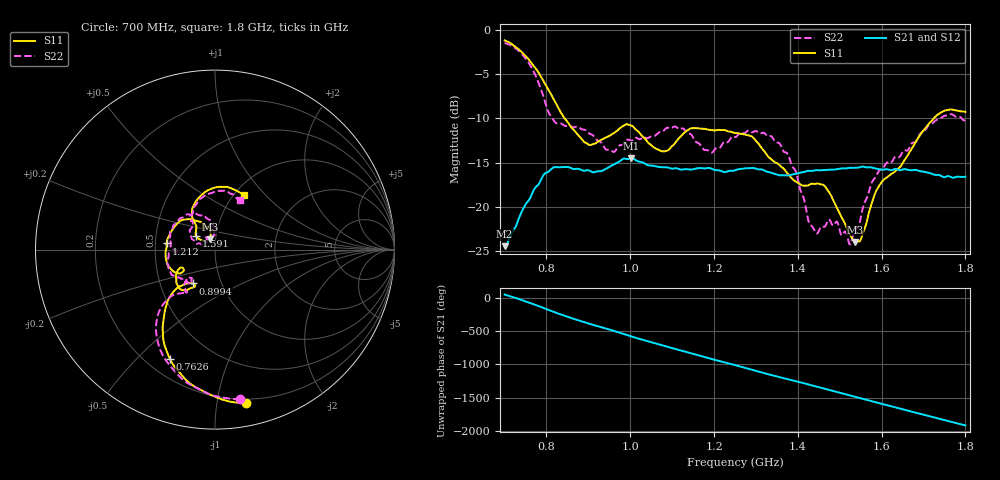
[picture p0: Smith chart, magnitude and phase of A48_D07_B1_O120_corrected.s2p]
! Created with skrf 1.9.0 (http://scikit-rf.org).
# Hz S RI R 50.0
!freq ReS11 ImS11 ReS21 ImS21 ReS12 ImS12 ReS22 ImS22
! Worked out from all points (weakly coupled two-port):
!   1601 points, 700 MHz to 1.8 GHz, reference 50 ohm
!   highest |S21| = -14.50 dB at 1.002 GHz (marker M1); lowest = -24.5 dB at 700 MHz (marker M2)
!   lowest |S11| = -24.0 dB at 1.537 GHz (marker M3), VSWR 1.14, Z = 46.9 + j5.33 ohm
!   |S11| at or under -10 dB: 843.5 MHz to 1.724 GHz (880.9 MHz wide, 68.6 % of centre)
!   |S22| runs from -24.3 to -1.5 dB; largest |S21 - S12| = 0.0035
!   S11 on the Smith chart (normalised r, x): 700 MHz: 0.17, -1.21; 762.6 MHz: 0.29, -0.63; 899.4 MHz: 0.73, -0.29; 1.212 GHz: 0.57, +0.04; 1.591 GHz: 0.80, +0.12; 1.8 GHz: 1.11, +0.77
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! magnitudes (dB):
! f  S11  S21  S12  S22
! 700 MHz  -1.2  -24.5  -24.2  -1.5
! 762.6 MHz  -3.6  -18.9  -18.8  -4.1
! 817.6 MHz  -7.8  -15.5  -15.7  -10.3
! 883.6 MHz  -12.3  -15.8  -15.7  -11.2
! 899.4 MHz  -12.9  -15.9  -15.9  -11.6
! 958.5 MHz  -11.7  -15.3  -15.3  -13.8
! 1.002 GHz  -10.8  -14.5  -14.6  -12.5
! 1.067 GHz  -13.6  -15.5  -15.4  -11.6
! 1.144 GHz  -11.1  -15.8  -15.8  -11.8
! 1.212 GHz  -11.3  -15.9  -15.9  -13.4
! 1.25 GHz  -11.6  -15.9  -15.8  -12.1
! 1.357 GHz  -15.3  -16.4  -16.4  -12.8
! 1.394 GHz  -17.1  -16.3  -16.3  -15.9
! 1.434 GHz  -17.4  -15.9  -15.9  -22.2
! 1.468 GHz  -17.9  -15.9  -15.8  -22.0
! 1.524 GHz  -23.2  -15.6  -15.6  -24.3
! 1.537 GHz  -24.0  -15.6  -15.6  -22.6
! 1.552 GHz  -23.4  -15.5  -15.5  -20.7
! 1.591 GHz  -17.9  -15.7  -15.7  -16.1
! 1.617 GHz  -16.5  -15.8  -15.8  -15.0
! 1.733 GHz  -9.6  -16.4  -16.4  -10.1
! 1.8 GHz  -9.3  -16.6  -16.6  -10.2
